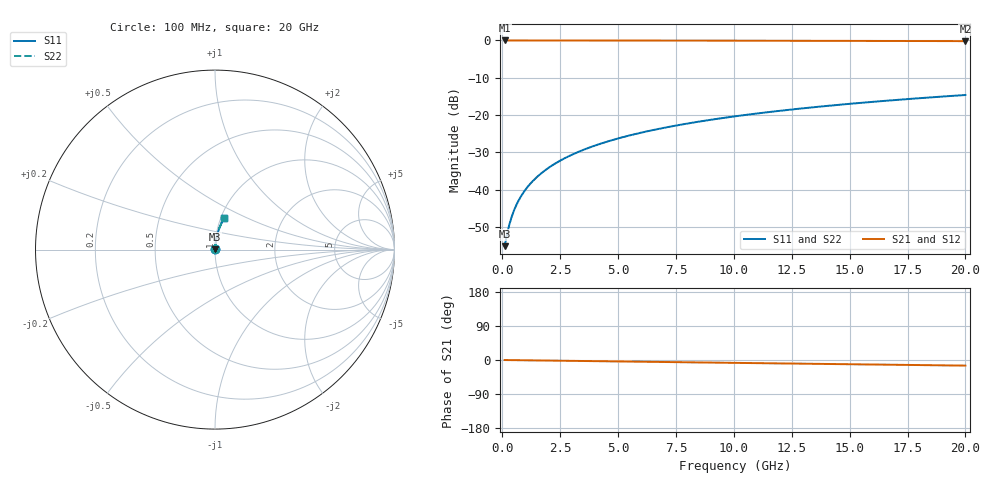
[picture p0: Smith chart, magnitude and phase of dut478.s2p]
! Touchstone file exported from HFSS 2026.1.0
!  File:  C:/ffzhzh/LocalFiles/Ansys_Project_Files/temp_train_BSMRDL_478_1783013793_46388.aedt
!  Generated:  01:37:54 AM Jul  3, 2026
!  Design:  BSMRDL
!  Project:  temp_train_BSMRDL_478_1783013793_46388
! Variables:
!  h_bsmrdl = 3.57um
!  h_ox = 20um
!  h_rdl = 5um
!  h_sub = 80um
!  h_tmrdl = 5um
!  h_tsv = 80um
!  h_via = 3um
!  l_bsmrdl = 152.16um
!  l_sub = 552.16um
!  l_tmrdl = 200um
!  m_sub = 200um
!  pitch = 44.58um
!  r_tsv = 6um
!  s_tmrdl = 10um
!  w_bsmrdl = 11.94um
!  w_sub = 500um
!  w_tmrdl = 12um
!  x_tsv_center1 = 206um
!  x_tsv_center2 = 370.1um
!  x_tsv_center3 = 582.1um
!  x_tsv_center4 = 746.2um
!  x_tsv_center5 = 958.2um
!  x_tsv_center6 = 1122.3um
# GHz S MA R 50.000000
! Terminal data exported
! Port[1] = BSM_RDL1_1_T1
! Port[2] = BSM_RDL1_1_T2
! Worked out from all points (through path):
!   200 points, 100 MHz to 20 GHz, reference 50 ohm
!   highest |S21| = -0.01 dB at 100 MHz (marker M1); lowest = -0.2 dB at 20 GHz (marker M2)
!   group delay of S21, straight-line fit = 2.06 ps
!   lowest |S11| = -55.2 dB at 100 MHz (marker M3), VSWR 1.00, Z = 50.1 + j0.101 ohm
!   |S11| at or under -10 dB: start of sweep to end of sweep
!   |S22| runs from -55.2 to -14.6 dB; largest |S21 - S12| = 3.3e-15
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0.1  0.001745 35.4  0.9986 -0.1  0.9986 -0.1  0.001745 35.4
! Gamma 0 0 0 0
! Port Impedance 50 0 50 0
0.2  0.00248 54.4  0.9986 -0.2  0.9986 -0.2  0.00248 54.4
0.3  0.003352 63.9  0.9985 -0.2  0.9985 -0.2  0.003352 63.9
0.4  0.004271 69.3  0.9985 -0.3  0.9985 -0.3  0.004271 69.3
0.5  0.005208 72.7  0.9985 -0.4  0.9985 -0.4  0.005208 72.7
0.6  0.006153 75.1  0.9984 -0.5  0.9984 -0.5  0.006153 75.1
0.8  0.008056 78.1  0.9984 -0.6  0.9984 -0.6  0.008056 78.1
1.1  0.01093 80.7  0.9983 -0.8  0.9983 -0.8  0.01093 80.7
1.5  0.01478 82.4  0.9982 -1.2  0.9982 -1.2  0.01478 82.4
1.8  0.01768 83.1  0.9981 -1.4  0.9981 -1.4  0.01768 83.1
2.1  0.02058 83.6  0.9981 -1.6  0.9981 -1.6  0.02058 83.6
2.7  0.02638 84.0  0.9978 -2.1  0.9978 -2.1  0.02638 84.0
3.5  0.0341 84.1  0.9975 -2.7  0.9975 -2.7  0.0341 84.1
4.2  0.04083 83.9  0.9971 -3.2  0.9971 -3.2  0.04083 83.9
5  0.04849 83.6  0.9966 -3.8  0.9966 -3.8  0.04849 83.6
5.9  0.05708 83.1  0.996 -4.5  0.996 -4.5  0.05708 83.1
6.8  0.06561 82.6  0.9953 -5.2  0.9953 -5.2  0.06561 82.6
8.3  0.07973 81.6  0.9939 -6.3  0.9939 -6.3  0.07973 81.6
10.1  0.0965 80.4  0.9921 -7.6  0.9921 -7.6  0.0965 80.4
13.4  0.1268 78.2  0.9881 -10.0  0.9881 -10.0  0.1268 78.2
16.7  0.1564 75.9  0.9833 -12.4  0.9833 -12.4  0.1564 75.9
20  0.1854 73.7  0.9778 -14.8  0.9778 -14.8  0.1854 73.7
